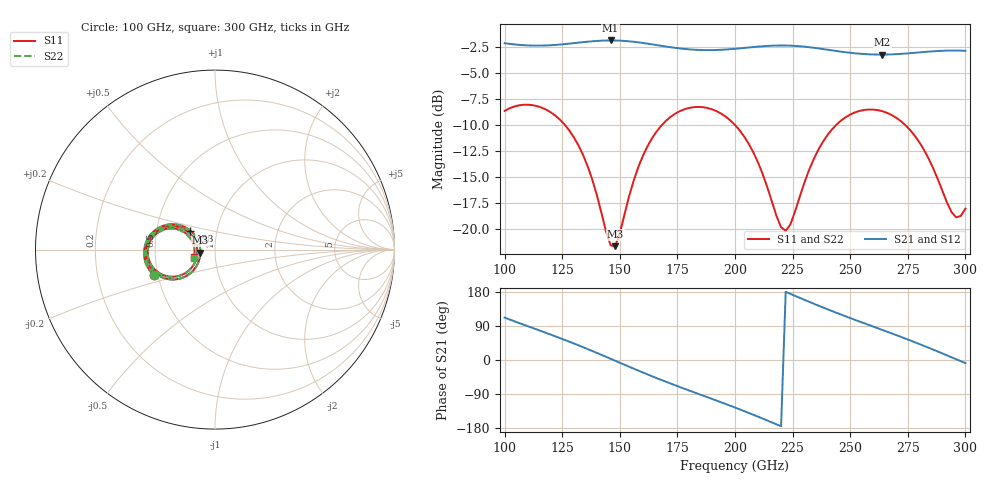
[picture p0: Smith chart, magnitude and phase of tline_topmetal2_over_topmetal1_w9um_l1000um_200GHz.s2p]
#  GHZ S DB R 50
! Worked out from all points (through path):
!   101 points, 100 GHz to 300 GHz, reference 50 ohm
!   highest |S21| = -1.87 dB at 146 GHz (marker M1); lowest = -3.2 dB at 264 GHz (marker M2)
!   group delay of S21, straight-line fit = 6.69 ps
!   lowest |S11| = -21.6 dB at 148 GHz (marker M3), VSWR 1.18, Z = 42.5 - j1.47 ohm
!   |S11| at or under -10 dB: 126.2 GHz to 168.2 GHz (42.02 GHz wide, 28.5 % of centre); 200.1 GHz to 243.9 GHz (43.8 GHz wide, 19.7 % of centre); 273.9 GHz to end of sweep
!   |S22| runs from -21.6 to -8.0 dB; largest |S21 - S12| = 9e-14
!   S11 on the Smith chart (normalised r, x): 100 GHz: 0.47, -0.15; 138 GHz: 0.74, +0.16; 300 GHz: 0.79, -0.07
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100  -8.63 -157.6  -2.14 111.8  -2.14 111.8  -8.63 -157.5
108  -8.05 -172.6  -2.32 93.8  -2.32 93.8  -8.05 -172.5
118  -8.51 169.2  -2.35 71.5  -2.35 71.5  -8.51 169.3
134  -12.84 144.3  -2.04 34.0  -2.04 34.0  -12.84 144.4
138  -15.19 142.3  -1.95 23.9  -1.95 23.9  -15.19 142.4
146  -21.54 172.4  -1.87 3.3  -1.87 3.3  -21.56 172.5
148  -21.62 -168.1  -1.88 -1.9  -1.88 -1.9  -21.65 -167.9
158  -14.05 -136.4  -2.05 -27.9  -2.05 -27.9  -14.06 -136.2
168  -10.05 -148.8  -2.39 -52.6  -2.39 -52.6  -10.06 -148.6
184  -8.25 -176.2  -2.78 -89.2  -2.78 -89.2  -8.25 -175.9
200  -9.99 157.5  -2.67 -125.4  -2.67 -125.4  -9.99 157.8
212  -14.69 146.6  -2.43 -154.6  -2.43 -154.6  -14.69 146.9
218  -18.72 158.9  -2.36 -169.9  -2.36 -169.9  -18.71 159.3
222  -20.14 -175.2  -2.36 179.8  -2.36 179.8  -20.13 -174.9
234  -13.34 -141.8  -2.57 149.0  -2.57 149.0  -13.33 -141.5
248  -9.25 -159.2  -3.00 115.3  -3.00 115.3  -9.24 -158.9
264  -8.67 175.1  -3.23 79.2  -3.23 79.2  -8.66 175.5
268  -9.03 168.9  -3.21 70.2  -3.21 70.2  -9.02 169.3
278  -11.01 155.2  -3.06 46.9  -3.06 46.9  -11.00 155.7
286  -14.14 150.4  -2.91 27.4  -2.91 27.4  -14.11 151.0
294  -18.36 168.3  -2.84 7.2  -2.84 7.2  -18.30 168.8
300  -18.01 -159.8  -2.87 -8.2  -2.87 -8.2  -17.96 -159.5
